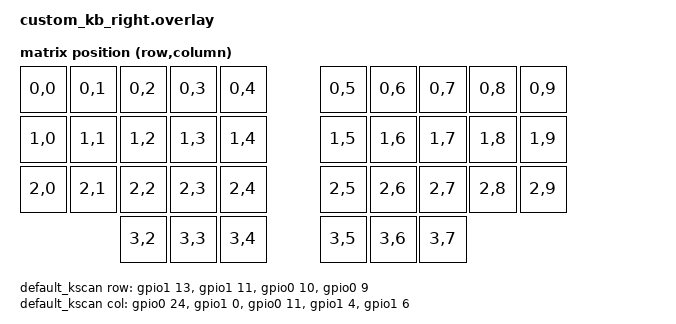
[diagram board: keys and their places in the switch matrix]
/*
 * Copyright (c) 2020 Pete Johanson
 *
 * SPDX-License-Identifier: MIT
 */

#include <dt-bindings/zmk/matrix_transform.h>

/ {
    chosen {
        zmk,kscan = &default_kscan;
        zmk,matrix-transform = &default_transform;
    };

    default_transform: matrix_transform {
        compatible = "zmk,matrix-transform";
        columns = <10>;
        rows = <4>;
        col-offset = <5>;
        map = <
RC(0,0) RC(0,1) RC(0,2) RC(0,3) RC(0,4)  RC(0,5) RC(0,6) RC(0,7) RC(0,8) RC(0,9)
RC(1,0) RC(1,1) RC(1,2) RC(1,3) RC(1,4)  RC(1,5) RC(1,6) RC(1,7) RC(1,8) RC(1,9)
RC(2,0) RC(2,1) RC(2,2) RC(2,3) RC(2,4)  RC(2,5) RC(2,6) RC(2,7) RC(2,8) RC(2,9)
                RC(3,2) RC(3,3) RC(3,4)  RC(3,5) RC(3,6) RC(3,7)
        >;
    };

    default_kscan: kscan {
        compatible = "zmk,kscan-gpio-matrix";
        wakeup-source;

        diode-direction = "col2row";
        
        // Right side rows (Reversed to match physical layout)
        row-gpios
            = <&gpio1 13 (GPIO_ACTIVE_HIGH | GPIO_PULL_DOWN)>
            , <&gpio1 11 (GPIO_ACTIVE_HIGH | GPIO_PULL_DOWN)>
            , <&gpio0 10 (GPIO_ACTIVE_HIGH | GPIO_PULL_DOWN)>
            , <&gpio0 9 (GPIO_ACTIVE_HIGH | GPIO_PULL_DOWN)>
            ;

        // Right side columns (Mirrored: Inner to Outer)
        // Col 5 (Inner) -> Col 9 (Outer)
        col-gpios
            = <&gpio0 24 GPIO_ACTIVE_HIGH>  // Inner (matches Left Col 4)
            , <&gpio1 0 GPIO_ACTIVE_HIGH>   // (matches Left Col 3)
            , <&gpio0 11 GPIO_ACTIVE_HIGH>  // (matches Left Col 2)
            , <&gpio1 4 GPIO_ACTIVE_HIGH>   // (matches Left Col 1)
            , <&gpio1 6 GPIO_ACTIVE_HIGH>   // Outer (matches Left Col 0)
            ;
    };
};
